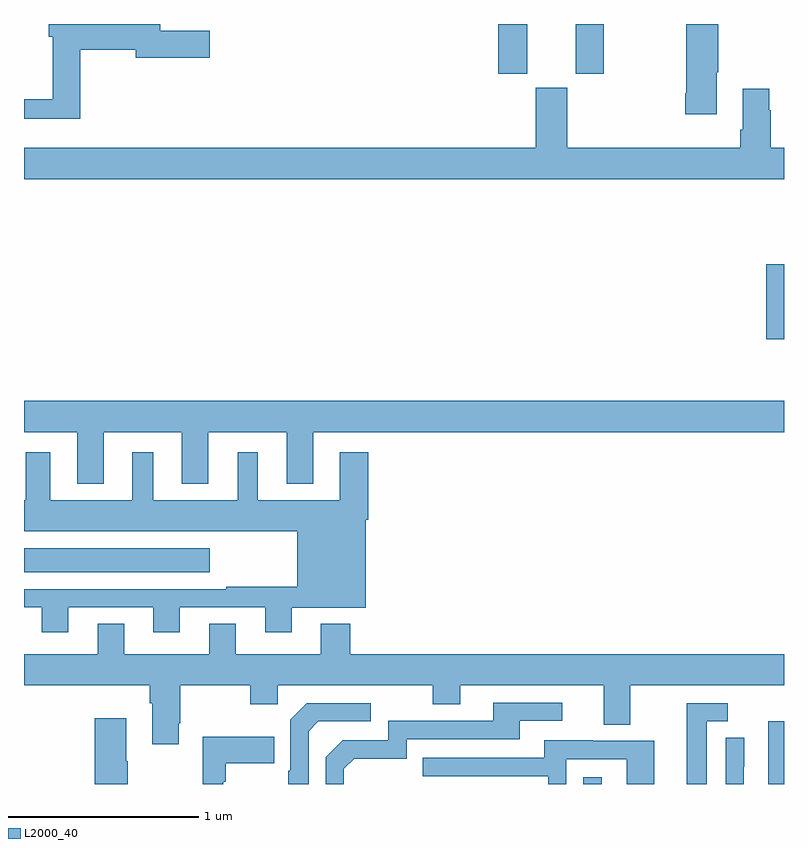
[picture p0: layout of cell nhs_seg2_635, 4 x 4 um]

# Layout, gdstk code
import gdstk
lib = gdstk.Library(unit=1e-6, precision=1e-09)
def R(c, l, rs):  # rectangles x0, y0, x1, y1
    for r in rs: c.add(gdstk.rectangle(r[:2], r[2:], *l))
def P(c, l, *ps):  # polygons
    for p in ps: c.add(gdstk.Polygon(p, *l))
L2000_40 = (2000, 40)

nhs_seg2_635 = lib.new_cell('nhs_seg2_635')
R(nhs_seg2_635, L2000_40, [(145.944,629.8,146.041,629.836), (146.918,629.8,147,630.13), (143,630.914,143.977,631.042), (146.906,632.142,147,632.536), (145.496,633.537,145.648,633.8), (145.904,633.537,146.052,633.8)])
P(nhs_seg2_635, L2000_40, [(146.647,633.547),(146.655,633.547),(146.655,633.8),(146.485,633.8),(146.485,633.436),(146.48,633.436),(146.48,633.324),(146.647,633.324)],
  [(143.297,633.664),(143.588,633.664),(143.588,633.622),(143.977,633.622),(143.977,633.764),(143.716,633.764),(143.716,633.8),(143.131,633.8),(143.131,633.734),(143.15,633.734),(143.15,633.404),(143,633.404),(143,633.302),(143.297,633.302)],
  [(147,633.148),(146.931,633.148),(146.931,633.347),(146.923,633.347),(146.923,633.46),(146.783,633.46),(146.783,633.244),(146.771,633.244),(146.771,633.148),(145.858,633.148),(145.858,633.465),(145.694,633.465),(145.694,633.148),(143,633.148),(143,632.984),(147,632.984)],
  [(143.419,631.652),(143.831,631.652),(143.831,631.379),(143.971,631.379),(143.971,631.652),(144.383,631.652),(144.383,631.379),(144.523,631.379),(144.523,631.652),(147,631.652),(147,631.816),(143,631.816),(143,631.652),(143.279,631.652),(143.279,631.379),(143.419,631.379)],
  [(143.233,630.729),(143.681,630.729),(143.681,630.6),(143.821,630.6),(143.821,630.729),(144.269,630.729),(144.269,630.6),(144.409,630.6),(144.409,630.728),(144.799,630.728),(144.799,631.19),(144.812,631.19),(144.812,631.546),(144.662,631.546),(144.662,631.294),(144.229,631.294),(144.229,631.546),(144.125,631.546),(144.125,631.294),(143.68,631.294),(143.68,631.546),(143.57,631.546),(143.57,631.294),(143.137,631.294),(143.137,631.546),(143.009,631.546),(143.009,631.294),(143,631.294),(143,631.13),(144.437,631.13),(144.437,630.838),(144.064,630.838),(144.064,630.825),(143,630.825),(143,630.729),(143.093,630.729),(143.093,630.6),(143.233,630.6)],
  [(143.815,630.121),(143.823,630.121),(143.823,630.32),(144.19,630.32),(144.19,630.221),(144.336,630.221),(144.336,630.32),(145.15,630.32),(145.15,630.221),(145.297,630.221),(145.297,630.32),(146.051,630.32),(146.051,630.112),(146.191,630.112),(146.191,630.32),(147,630.32),(147,630.484),(144.716,630.484),(144.716,630.643),(144.563,630.643),(144.563,630.484),(144.115,630.484),(144.115,630.644),(143.975,630.644),(143.975,630.484),(143.527,630.484),(143.527,630.644),(143.387,630.644),(143.387,630.484),(143,630.484),(143,630.32),(143.663,630.32),(143.663,630.224),(143.675,630.224),(143.675,630.009),(143.815,630.009)],
  [(144.684,629.88),(144.737,629.933),(145.014,629.933),(145.014,630.036),(145.609,630.036),(145.609,630.132),(145.834,630.132),(145.834,630.228),(145.469,630.228),(145.469,630.132),(144.918,630.132),(144.918,630.03),(144.678,630.03),(144.588,629.94),(144.588,629.8),(144.684,629.8)],
  [(146.593,630.129),(146.704,630.129),(146.704,630.225),(146.489,630.225),(146.489,629.8),(146.593,629.8)],
  [(144.498,630.078),(144.549,630.129),(144.826,630.129),(144.826,630.225),(144.489,630.225),(144.402,630.138),(144.402,629.869),(144.39,629.869),(144.39,629.8),(144.498,629.8)],
  [(143.547,629.921),(143.539,629.921),(143.539,630.145),(143.372,630.145),(143.372,629.8),(143.547,629.8)],
  [(144.048,629.813),(144.061,629.813),(144.061,629.909),(144.317,629.909),(144.317,630.049),(143.94,630.049),(143.94,629.8),(144.048,629.8)],
  [(146.789,629.89),(146.79,629.89),(146.79,630.044),(146.694,630.044),(146.694,629.8),(146.789,629.8)],
  [(145.854,629.931),(146.172,629.931),(146.172,629.8),(146.317,629.8),(146.317,630.027),(145.993,630.027),(145.993,630.031),(145.739,630.031),(145.739,629.937),(145.099,629.937),(145.099,629.841),(145.758,629.841),(145.758,629.8),(145.854,629.8)])

lib.write_gds('nhs_seg2_635.gds')
